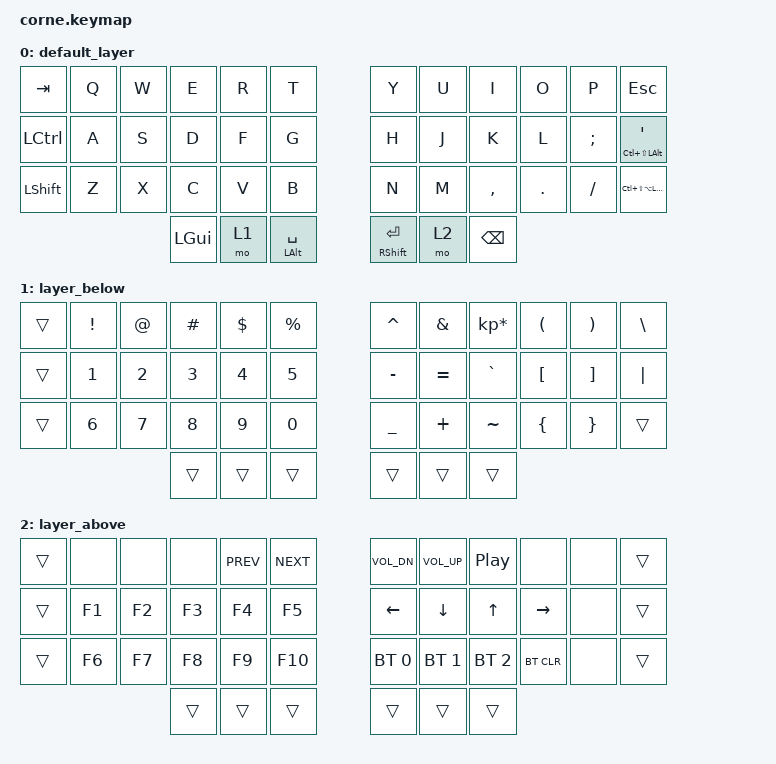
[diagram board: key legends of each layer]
/*
 * Copyright (c) 2020 The ZMK Contributors
 *
 * SPDX-License-Identifier: MIT
 */

#include <behaviors.dtsi>
#include <dt-bindings/zmk/keys.h>
#include <dt-bindings/zmk/bt.h>

/ {
        behaviors {
          tp: tap_preferred {
            compatible = "zmk,behavior-hold-tap";
            label = "TAP_PREFERRED";
            #binding-cells = <2>;
            tapping-term-ms = <150>;
            quick-tap-ms = <0>;
            flavor = "tap-preferred";
            bindings = <&kp>, <&kp>;
          };
        };

        keymap {
                compatible = "zmk,keymap";

                default_layer {
// -----------------------------------------------------------------------------------------
// | TAB  |  Q  |  W  |  E  |  R  |    T      |              |  Y  |  U   |  I  |  O  |  P  | ESC    |
// | CTRL |  A  |  S  |  D  |  F  |    G      |              |  H  |  J   |  K  |  L  |  ;  | MEH/ ' |
// | SHFT |  Z  |  X  |  C  |  V  |    B      |              |  N  |  M   |  ,  |  .  |  /  | HYPER  |
//                    | GUI | LWR | Alt/SPC   |              | SHFT/ENT | RSE | BKSP |
                        bindings = <
   &kp TAB   &kp Q &kp W &kp E &kp R &kp T                    &kp Y &kp U   &kp I     &kp O   &kp P    &kp ESC
   &kp LCTRL &kp A &kp S &kp D &kp F &kp G                    &kp H &kp J   &kp K     &kp L   &kp SEMI &tp LC(LS(LALT)) SQT
   &kp LSHFT &kp Z &kp X &kp C &kp V &kp B                    &kp N &kp M   &kp COMMA &kp DOT &kp FSLH &kp LC(LS(LA(LGUI)))
             &kp LGUI &mo 1 &tp LALT SPACE                    &tp RSHFT RET &mo 2 &kp BSPC
                        >;
                };

                layer_below {
// -----------------------------------------------------------------------------------------
// | TAB  |  !  |  @  |  #   |  $  |    %      |             |  ^        |  &  |  *   |  (  |  )  |   \   |
// | CTRL |  1  |  2  |  3   |  4  |    5      |             |  -        |  =  |  `   |  [  |  ]  |  "|"  |
// | SHFT |  6  |  7  |  8   |  9  |    0      |             |  _        |  +  |  ~   |  {  |  }  | HYPER |
//                    | GUI  |     | ALT/SPC   |             | SHFT/ENT  |     | BKSP |
                        bindings = <
   &trans    &kp EXCL &kp AT &kp HASH &kp DLLR &kp PRCNT      &kp CARET  &kp AMPS  &kp KP_MULTIPLY &kp LPAR &kp RPAR &kp BSLH
   &trans    &kp N1   &kp N2 &kp N3   &kp N4   &kp N5         &kp MINUS  &kp EQUAL &kp GRAVE       &kp LBKT &kp RBKT &kp PIPE
   &trans    &kp N6   &kp N7 &kp N8   &kp N9   &kp N0         &kp UNDER  &kp PLUS  &kp TILDE       &kp LBRC &kp RBRC &trans
                             &trans   &trans   &trans         &trans     &trans    &trans
                        >;
                };

                layer_above {
// -----------------------------------------------------------------------------------------
// | TAB  |      |      |      | Prev | Next        |        | Vol-     | Vol+ | P/P  |       |     | ESC   |
// | CTRL | F1   | F2   | F3   | F4   | F5          |        | LFT      | DWN  | UP   | RGT   |     | MEH/' |
// | SHFT | F6   | F7   | F8   | F9   | F10         |        | BT0      | BT1  | BT2  | BTCLR |     | HYPER |
//                      | GUI  |      | ALT/SPC     |        | SHFT/ENT |      | BKSP |
                        bindings = <
   &trans &none  &none  &none  &kp C_PREV &kp C_NEXT          &kp C_VOL_DN &kp C_VOL_UP &kp C_PP     &none      &none &trans
   &trans &kp F1 &kp F2 &kp F3 &kp F4     &kp F5              &kp LEFT     &kp DOWN     &kp UP       &kp RIGHT  &none &trans
   &trans &kp F6 &kp F7 &kp F8 &kp F9     &kp F10             &bt BT_SEL 0 &bt BT_SEL 1 &bt BT_SEL 2 &bt BT_CLR &none &trans
                        &trans &trans     &trans              &trans       &trans       &trans
                        >;
                };
        };
};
